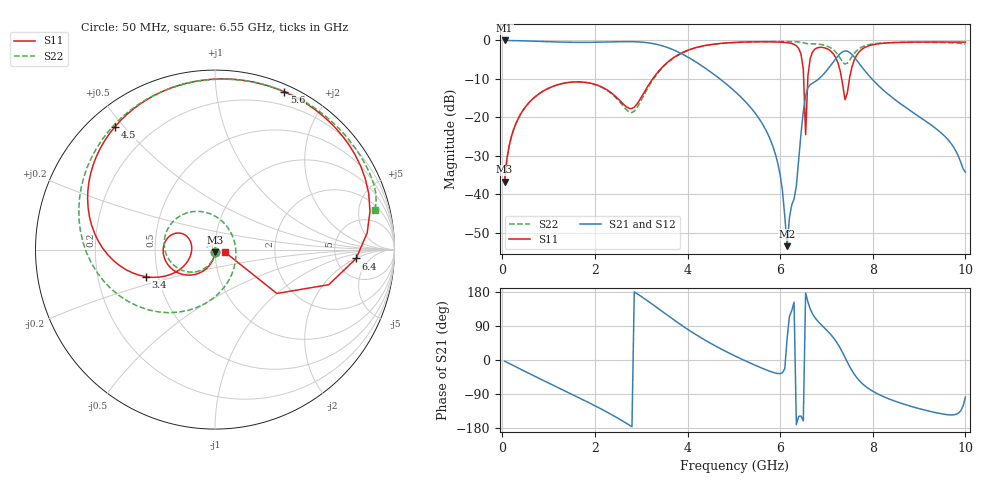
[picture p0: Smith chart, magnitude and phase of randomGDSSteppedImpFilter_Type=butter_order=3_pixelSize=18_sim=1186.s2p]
! freq	dB(S11)	phase(S11)	dB(S12)	phase(S12)
!  dB(S21)	phase(S21)	dB(S22)	phase(S22)
!S-par simulation data
#  GHz  S  DB  R 50
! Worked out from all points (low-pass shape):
!   200 points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, 50 MHz to 10 GHz, reference 50 ohm
!   highest |S21| = -0.01 dB at 50 MHz (marker M1); lowest = -53.6 dB at 6.15 GHz (marker M2)
!   |S21| within 3 dB of the highest: start of sweep to 3.797 GHz; 7.344 GHz to 7.482 GHz (138.3 MHz wide, 1.87 % of centre)
!   lowest |S11| = -36.7 dB at 50 MHz (marker M3), VSWR 1.03, Z = 49.9 - j1.45 ohm
!   |S11| at or under -10 dB: start of sweep to 3.248 GHz; 6.507 GHz to 6.597 GHz (89.95 MHz wide, 1.37 % of centre); 7.328 GHz to 7.496 GHz (168.4 MHz wide, 2.27 % of centre)
!   |S22| runs from -36.8 to -0.3 dB; largest |S21 - S12| = 0
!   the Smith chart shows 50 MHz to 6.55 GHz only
!   S11 on the Smith chart (normalised r, x): 50 MHz: 1.00, -0.03; 3.4 GHz: 0.43, -0.16; 4.5 GHz: 0.08, +0.47; 5.6 GHz: 0.07, +1.53; 6.4 GHz: 7.90, -2.05; 6.55 GHz: 1.12, -0.04
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0.05  -36.75 -92.3  -0.01 -3.1  -0.01 -3.1  -36.75 -92.8
0.5  -17.31 -118.9  -0.12 -30.7  -0.12 -30.7  -17.32 -123.5
1.75  -10.86 175.9  -0.50 -105.3  -0.50 -105.3  -10.88 152.7
2.7  -17.46 168.4  -0.31 -168.5  -0.31 -168.5  -18.27 35.7
3.4  -7.68 -158.5  -1.22 133.0  -1.22 133.0  -7.89 -120.2
4  -2.57 161.9  -4.30 81.1  -4.30 81.1  -2.66 176.8
4.5  -1.08 129.1  -8.21 43.9  -8.21 43.9  -1.13 135.7
5.05  -0.51 96.9  -13.57 9.1  -13.57 9.1  -0.53 98.4
5.6  -0.35 66.3  -21.39 -21.2  -21.39 -21.2  -0.33 66.0
5.95  -0.41 45.0  -32.03 -35.7  -32.03 -35.7  -0.31 46.9
6.15  -0.58 30.0  -53.55 56.0  -53.55 56.0  -0.31 36.2
6.4  -2.07 -3.6  -31.10 -148.6  -31.10 -148.6  -0.39 22.2
6.5  -7.48 -35.3  -18.49 -160.7  -18.49 -160.7  -0.58 16.2
6.55  -24.52 -15.2  -14.37 176.8  -14.37 176.8  -0.76 13.9
6.6  -9.18 77.8  -12.31 152.9  -12.31 152.9  -0.87 12.1
6.7  -2.98 46.9  -11.14 121.4  -11.14 121.4  -0.88 7.8
7  -2.09 -0.6  -7.91 79.4  -7.91 79.4  -1.43 -9.8
7.25  -5.91 -49.4  -4.05 41.1  -4.05 41.1  -3.77 -23.6
7.45  -13.75 152.0  -2.80 -5.3  -2.80 -5.3  -5.94 -5.4
7.7  -3.05 61.0  -5.89 -53.2  -5.89 -53.2  -2.20 -4.1
8.35  -0.62 4.8  -14.18 -102.7  -14.18 -102.7  -0.58 -37.2
10  -0.45 -54.1  -34.28 -98.0  -34.28 -98.0  -1.02 -105.6
